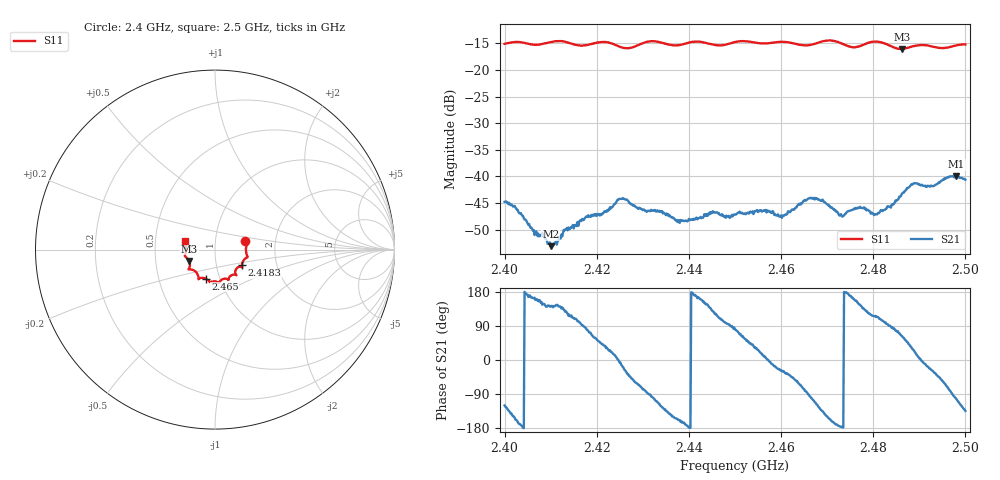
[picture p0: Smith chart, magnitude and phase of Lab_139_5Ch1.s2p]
# Hz S RI R 50
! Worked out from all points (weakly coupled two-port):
!   601 points, 2.4 GHz to 2.5 GHz, reference 50 ohm
!   highest |S21| = -39.94 dB at 2.498 GHz (marker M1); lowest = -53.1 dB at 2.41 GHz (marker M2)
!   lowest |S11| = -16.1 dB at 2.4862 GHz (marker M3), VSWR 1.37, Z = 37.2 - j4.85 ohm
!   |S11| at or under -10 dB: start of sweep to end of sweep
!   S12 and S22 are empty: the file has one direction only
!   S11 on the Smith chart (normalised r, x): 2.4 GHz: 1.40, +0.13; 2.4183 GHz: 1.33, -0.24; 2.465 GHz: 0.86, -0.29; 2.5 GHz: 0.71, +0.07
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2.4e9  0.1696 0.0458  -0.00288 -0.00501  0 0  0 0
2.41e9  0.1793 -0.0346  -0.00173 0.00139  0 0  0 0
2.416667e9  0.1549 -0.0682  -0.000256 0.00382  0 0  0 0
2.418333e9  0.1497 -0.0871  0.00123 0.00401  0 0  0 0
2.425333e9  0.1311 -0.097  0.00599 -0.00141  0 0  0 0
2.433333e9  0.1175 -0.141  -0.00181 -0.00432  0 0  0 0
2.437833e9  0.0837 -0.149  -0.00358 -0.00145  0 0  0 0
2.445333e9  0.0592 -0.1618  -0.0028 0.00363  0 0  0 0
2.45e9  0.0257 -0.1809  0.000752 0.00434  0 0  0 0
2.456167e9  -0.0023 -0.1769  0.00467 0.000974  0 0  0 0
2.460167e9  -0.028 -0.1815  0.00359 -0.00193  0 0  0 0
2.465e9  -0.0523 -0.1619  0.00134 -0.00575  0 0  0 0
2.466667e9  -0.0714 -0.1575  -0.00128 -0.00616  0 0  0 0
2.473167e9  -0.092 -0.1515  -0.00423 -0.000288  0 0  0 0
2.476667e9  -0.1177 -0.1155  -0.00447 0.00245  0 0  0 0
2.4805e9  -0.1481 -0.1106  -0.00195 0.00395  0 0  0 0
2.483333e9  -0.1412 -0.0965  -9.31e-05 0.00524  0 0  0 0
2.486167e9  -0.1439 -0.0636  0.00299 0.00614  0 0  0 0
2.488833e9  -0.1621 -0.0419  0.0078 0.00364  0 0  0 0
2.492667e9  -0.1651 -0.0227  0.00723 -0.00366  0 0  0 0
2.498e9  -0.1661 0.0358  -0.00216 -0.00984  0 0  0 0
2.5e9  -0.167 0.0462  -0.00649 -0.00668  0 0  0 0
